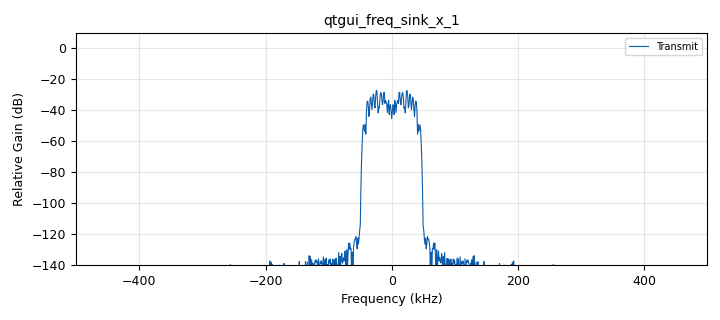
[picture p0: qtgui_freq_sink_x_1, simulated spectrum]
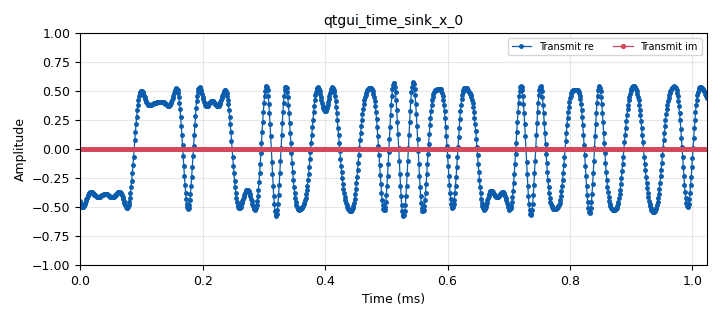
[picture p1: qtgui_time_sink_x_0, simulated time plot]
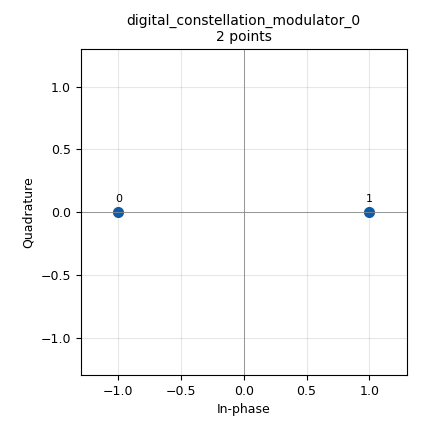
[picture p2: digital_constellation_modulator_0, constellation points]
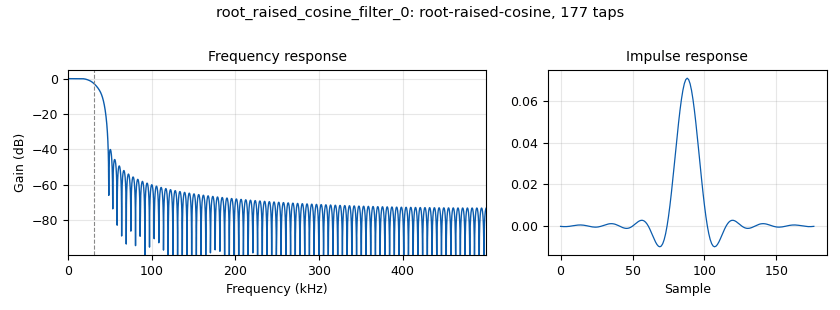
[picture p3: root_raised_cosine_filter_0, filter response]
options:
  parameters:
    author: jason
    generate_options: qt_gui
    generator_class_name: PythonQtGuiGenerator
    generator_module: gnuradio.grc.workflows.python_qt_gui
    id: lesson17_FLL
    output_language: python
    title: FLL
  states: {}

blocks:
- name: alpha
  id: variable
  parameters:
    comment: |-
      Can't change alpha in real time
      for Consteallation Modulator
    value: '0.50'
  states: {}
- name: center_freq
  id: variable
  parameters:
    value: 915e6
  states: {}
- name: constellation
  id: variable_constellation
  parameters:
    precision: '8'
    type: bpsk
  states: {}
- name: offset
  id: variable_qtgui_range
  parameters:
    comment: increased range with FLL
    gui_hint: 6,0
    start: '-500e3'
    step: '1'
    stop: 500e3
    value: '0'
  states: {}
- name: rx_gain
  id: variable_qtgui_range
  parameters:
    gui_hint: 4,0
    start: '0'
    step: '1'
    stop: '70'
    value: '10'
  states: {}
- name: samp_rate
  id: variable
  parameters:
    value: 1e6
  states: {}
- name: sps
  id: variable
  parameters:
    value: '16'
  states: {}
- name: tx_attenuation
  id: variable_qtgui_range
  parameters:
    gui_hint: 3,0
    start: '0'
    step: '1'
    stop: '89'
    value: '10'
  states: {}
- name: analog_agc_xx_1
  id: analog_agc_xx
  parameters:
    gain: '1.0'
    max_gain: '65536'
    rate: '1e-4'
    reference: '1.0'
    type: complex
  states: {}
- name: analog_random_uniform_source_x_0_0
  id: analog_random_uniform_source_x
  parameters:
    comment: random 0s and 1s
    maximum: constellation.arity()
    minimum: '0'
    seed: '0'
    type: byte
  states: {}
- name: analog_random_uniform_source_x_0_0_0
  id: analog_random_uniform_source_x
  parameters:
    comment: |-
      bytes with random bits
      (faster way to make random bytes)
    maximum: '256'
    minimum: '0'
    seed: '0'
    type: byte
  states: {state: disabled}
- name: analog_sig_source_x_0
  id: analog_sig_source_x
  parameters:
    amp: '1'
    freq: offset
    offset: '0'
    phase: '0'
    samp_rate: samp_rate
    type: complex
    waveform: analog.GR_COS_WAVE
  states: {}
- name: blocks_multiply_const_vxx_0
  id: blocks_multiply_const_vxx
  parameters:
    comment: |-
      Keep the signal from going
      above +1 or below -1
    const: '0.4'
    type: complex
  states: {}
- name: blocks_multiply_xx_0
  id: blocks_multiply_xx
  parameters:
    type: complex
  states: {}
- name: blocks_unpacked_to_packed_xx_0_0
  id: blocks_unpacked_to_packed_xx
  parameters:
    bits_per_chunk: constellation.bits_per_symbol()
    endianness: gr.GR_MSB_FIRST
    type: byte
  states: {}
- name: blocks_vector_source_x_0_0
  id: blocks_vector_source_x
  parameters:
    repeat: 'True'
    type: byte
    vector: '[0,1,0,1,0,0,0,1,1,0,0,0,1,1,1,1]'
  states: {state: disabled}
- name: digital_constellation_modulator_0
  id: digital_constellation_modulator
  parameters:
    comment: |-
      Unpack bytes into chunks of bits,
      look up constellation symbol,
      and apply RRC filter
    constellation: constellation
    differential: 'False'
    excess_bw: alpha
    samples_per_symbol: sps
  states: {}
- name: digital_fll_band_edge_cc_0
  id: digital_fll_band_edge_cc
  parameters:
    comment: |-
      Samples Per Symbol: sps
      Filter Rolloff Factor: alpha
      Prototype Filter Size: sps*2+1
      Loop Bandwidth: 2*math.pi/sps/100
    filter_size: sps*2+1
    improved_loop_filter: 'False'
    rolloff: alpha
    samps_per_sym: sps
    type: cc
    w: 2*math.pi/sps/100
  states: {}
- name: iio_pluto_sink_0_0
  id: iio_pluto_sink
  parameters:
    attenuation1: tx_attenuation
    bandwidth: int(samp_rate)
    buffer_size: '32768'
    cyclic: 'False'
    filter_source: '''Auto'''
    frequency: int(center_freq)
    samplerate: int(samp_rate)
    type: fc32
    uri: 192.168.2.1
  states: {}
- name: import_0
  id: import
  parameters:
    imports: |-
      import math
      from gnuradio import gr
  states: {}
- name: qtgui_eye_sink_x_0
  id: qtgui_eye_sink_x
  parameters:
    comment: changed labels
    gui_hint: 10,0
    label1: Eye Diagram for Receive AGC and FLL Re
    label2: Eye Diagram for Receive AGC and FLL  Im
    marker1: '0'
    marker2: '0'
    samp_per_symbol: sps
    size: '1024'
    srate: samp_rate
    type: complex
    ymax: '2'
    ymin: '-2'
  states: {}
- name: qtgui_freq_sink_x_0
  id: qtgui_freq_sink_x
  parameters:
    average: '0.2'
    bw: samp_rate
    fc: '0'
    fftsize: 1024*8
    gui_hint: 8,0
    label1: Receive Raw
    label2: Receive Tuned and AGC
    label3: Receive FLL Band-Edge
    nconnections: '3'
    type: complex
  states: {}
- name: qtgui_freq_sink_x_1
  id: qtgui_freq_sink_x
  parameters:
    bw: samp_rate
    fc: '0'
    fftsize: '1024'
    gui_hint: 1,0
    label1: Transmit
    type: complex
  states: {}
- name: qtgui_time_sink_x_0
  id: qtgui_time_sink_x
  parameters:
    gui_hint: 0,0
    label1: Transmit re
    label2: Transmit im
    marker1: '0'
    marker2: '0'
    size: '1024'
    srate: samp_rate
    type: complex
  states: {}
- name: qtgui_time_sink_x_0_0
  id: qtgui_time_sink_x
  parameters:
    gui_hint: 5,0
    label1: Receive Raw Re
    label2: Receive Raw Im
    size: 1024*8
    srate: samp_rate
    type: complex
  states: {}
- name: qtgui_time_sink_x_0_0_0
  id: qtgui_time_sink_x
  parameters:
    gui_hint: 7,0
    label1: Receive Tuned and AGC Re
    label2: Receive Tuned and AGC Im
    size: 1024*8
    srate: samp_rate
    type: complex
    ymax: '2'
    ymin: '-2'
  states: {}
- name: qtgui_time_sink_x_0_0_0_0
  id: qtgui_time_sink_x
  parameters:
    gui_hint: 9,0
    label1: Receive Tuned AGC and FLL Re
    label2: Receive Tuned AGC and FLL Im
    size: 1024*8
    srate: samp_rate
    type: complex
    ymax: '2'
    ymin: '-2'
  states: {}
- name: root_raised_cosine_filter_0
  id: root_raised_cosine_filter
  parameters:
    alpha: alpha
    decim: '1'
    gain: '1'
    ntaps: 11*sps
    samp_rate: samp_rate
    sym_rate: samp_rate/sps
    type: fir_filter_ccf
  states: {}
- name: rtlsdr_source_0
  id: rtlsdr_source
  parameters:
    bb_gain0: '20'
    freq0: center_freq
    gain0: rx_gain
    gain_mode0: 'False'
    if_gain0: '20'
    sample_rate: samp_rate
    sync: sync
    type: fc32
  states: {}

connections:
- [analog_agc_xx_1, '0', digital_fll_band_edge_cc_0, '0']
- [analog_agc_xx_1, '0', qtgui_freq_sink_x_0, '1']
- [analog_agc_xx_1, '0', qtgui_time_sink_x_0_0_0, '0']
- [analog_random_uniform_source_x_0_0, '0', blocks_unpacked_to_packed_xx_0_0, '0']
- [analog_random_uniform_source_x_0_0_0, '0', digital_constellation_modulator_0, '0']
- [analog_sig_source_x_0, '0', blocks_multiply_xx_0, '1']
- [blocks_multiply_const_vxx_0, '0', iio_pluto_sink_0_0, '0']
- [blocks_multiply_const_vxx_0, '0', qtgui_freq_sink_x_1, '0']
- [blocks_multiply_const_vxx_0, '0', qtgui_time_sink_x_0, '0']
- [blocks_multiply_xx_0, '0', analog_agc_xx_1, '0']
- [blocks_unpacked_to_packed_xx_0_0, '0', digital_constellation_modulator_0, '0']
- [blocks_vector_source_x_0_0, '0', blocks_unpacked_to_packed_xx_0_0, '0']
- [digital_constellation_modulator_0, '0', blocks_multiply_const_vxx_0, '0']
- [digital_fll_band_edge_cc_0, '0', qtgui_freq_sink_x_0, '2']
- [digital_fll_band_edge_cc_0, '0', root_raised_cosine_filter_0, '0']
- [root_raised_cosine_filter_0, '0', qtgui_eye_sink_x_0, '0']
- [root_raised_cosine_filter_0, '0', qtgui_time_sink_x_0_0_0_0, '0']
- [rtlsdr_source_0, '0', blocks_multiply_xx_0, '0']
- [rtlsdr_source_0, '0', qtgui_freq_sink_x_0, '0']
- [rtlsdr_source_0, '0', qtgui_time_sink_x_0_0, '0']

metadata:
  file_format: 1
  grc_version: 3.10.12.0
